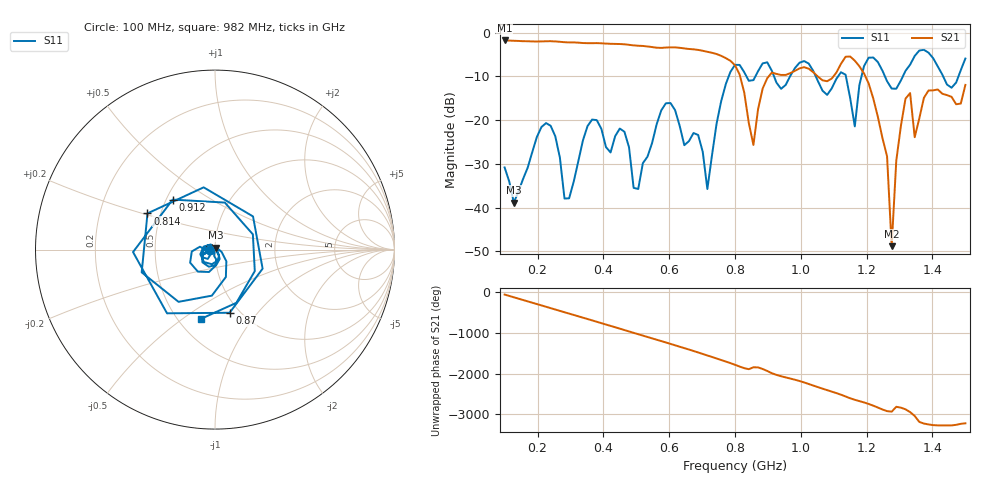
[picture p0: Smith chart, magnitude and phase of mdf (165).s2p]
! NanoVNA-App
! Date: 2025-09-25 15:39:42
! Start: 100MHz Stop: 1,5GHz Points: 101
! S-Parameter data: F S11 S21 S12 S22
# Hz S RI R 50
!  Frequency  S11_Real  S11_Imag  S21_Real  S21_Imag  S12_Real  S12_Imag  S22_Real  S22_Imag
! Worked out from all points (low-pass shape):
!   101 points, 100 MHz to 1.5 GHz, reference 50 ohm
!   highest |S21| = -1.81 dB at 100 MHz (marker M1); lowest = -48.8 dB at 1.276 GHz (marker M2)
!   |S21| within 3 dB of the highest: start of sweep to 739 MHz
!   lowest |S11| = -38.9 dB at 128 MHz (marker M3), VSWR 1.02, Z = 50.4 + j1.08 ohm
!   |S11| at or under -10 dB: start of sweep to 781 MHz; 1.045 GHz to 1.113 GHz (68.13 MHz wide, 6.31 % of centre); 1.255 GHz to 1.31 GHz (54.64 MHz wide, 4.26 % of centre) (the widest 3 of 7)
!   S12 and S22 are empty: the file has one direction only
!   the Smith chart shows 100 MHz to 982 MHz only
!   S11 on the Smith chart (normalised r, x): 100 MHz: 0.94, -0.01; 814 MHz: 0.42, +0.21; 870 MHz: 0.90, -0.73; 912 MHz: 0.54, +0.35; 982 MHz: 0.65, -0.59
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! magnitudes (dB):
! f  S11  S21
! 100 MHz  -30.8  -1.8
! 128 MHz  -38.9  -1.9
! 212 MHz  -21.6  -2.0
! 282 MHz  -37.9  -2.2
! 338 MHz  -24.7  -2.4
! 464 MHz  -22.7  -2.7
! 506 MHz  -35.8  -3.0
! 576 MHz  -17.8  -3.5
! 716 MHz  -35.8  -4.4
! 800 MHz  -7.4  -7.5
! 814 MHz  -7.4  -9.6
! 856 MHz  -10.9  -25.7
! 870 MHz  -8.8  -17.6
! 912 MHz  -8.8  -9.1
! 982 MHz  -8.1  -8.8
! 1.038 GHz  -8.8  -9.1
! 1.164 GHz  -21.5  -6.4
! 1.206 GHz  -5.7  -11.6
! 1.262 GHz  -11.1  -28.3
! 1.276 GHz  -12.8  -48.8
! 1.318 GHz  -8.8  -15.1
! 1.5 GHz  -5.9  -12.0
